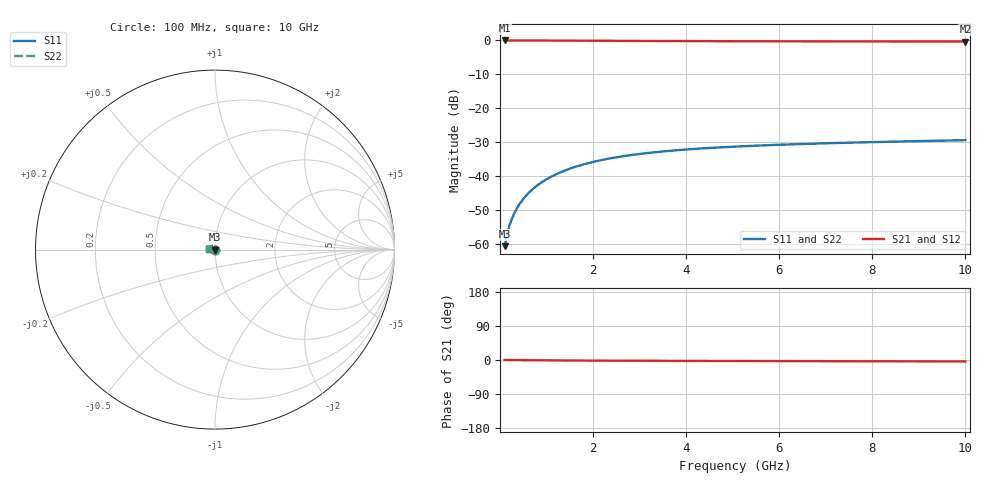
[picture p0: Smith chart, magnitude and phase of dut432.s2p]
! Touchstone file exported from HFSS 2024.1.0
!  File:  C:/UserFiles/LocalFiles/RDL_TSV_Batchsim/temp_TSV1_432_1779694422.aedt
!  Generated:  03:38:29 PM May 25, 2026
!  Design:  TSV1
!  Project:  temp_TSV1_432_1779694422
!  Setup:  Setup1
!  Solution:  Sweep
! Variables:
!  dtsv = 11.18um
!  hbump = 3um
!  htsv = 56.24um
!  lrdl = 252.1521522um
!  p = 40
!  p1 = 53.84um
!  t = 500um
!  trdl = 3um
!  wrdl = 24.89489489um
# GHz S MA R 50.000000
! Terminal data exported
! Port[1] = TSV22_T1
! Port[2] = TSV22_T2
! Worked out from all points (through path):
!   100 points, 100 MHz to 10 GHz, reference 50 ohm
!   highest |S21| = 0.00 dB at 100 MHz (marker M1); lowest = -0.3 dB at 10 GHz (marker M2)
!   lowest |S11| = -60.6 dB at 100 MHz (marker M3), VSWR 1.00, Z = 50 - j0.0937 ohm
!   |S11| at or under -10 dB: start of sweep to end of sweep
!   |S22| runs from -60.6 to -29.4 dB; largest |S21 - S12| = 5e-15
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0.1  0.0009385 -86.2  0.9999 -0.1  0.9999 -0.1  0.0009385 -86.2
! Gamma 0 0 0 0
! Port Impedance 50 0 50 0
0.2  0.001871 -90.8  0.9998 -0.2  0.9998 -0.2  0.001871 -90.8
0.3  0.002804 -93.7  0.9996 -0.3  0.9996 -0.3  0.002804 -93.7
0.4  0.003733 -96.1  0.9994 -0.4  0.9994 -0.4  0.003733 -96.1
0.5  0.004653 -98.3  0.9991 -0.5  0.9991 -0.5  0.004653 -98.3
0.6  0.005563 -100.4  0.9987 -0.6  0.9987 -0.6  0.005563 -100.4
0.7  0.00646 -102.4  0.9983 -0.7  0.9983 -0.7  0.00646 -102.4
0.8  0.00734 -104.4  0.9979 -0.7  0.9979 -0.7  0.00734 -104.4
0.9  0.008204 -106.4  0.9974 -0.8  0.9974 -0.8  0.008204 -106.4
1.1  0.009872 -110.1  0.9963 -1.0  0.9963 -1.0  0.009872 -110.1
1.4  0.01222 -115.5  0.9944 -1.2  0.9944 -1.2  0.01222 -115.5
1.6  0.01366 -118.9  0.9931 -1.3  0.9931 -1.3  0.01366 -118.9
1.8  0.01502 -122.2  0.9917 -1.5  0.9917 -1.5  0.01502 -122.2
2.1  0.01688 -126.7  0.9896 -1.6  0.9896 -1.6  0.01688 -126.7
2.5  0.01906 -132.4  0.9868 -1.8  0.9868 -1.8  0.01906 -132.4
2.9  0.02092 -137.5  0.9842 -2.0  0.9842 -2.0  0.02093 -137.5
3.4  0.02289 -143.2  0.9813 -2.2  0.9813 -2.2  0.02289 -143.2
4.2  0.02537 -151.2  0.9773 -2.4  0.9773 -2.4  0.02537 -151.2
5.1  0.02749 -158.7  0.9738 -2.7  0.9738 -2.7  0.02749 -158.7
6.7  0.03021 -169.4  0.9695 -3.0  0.9695 -3.0  0.03021 -169.4
8.4  0.03236 -178.6  0.9665 -3.4  0.9665 -3.4  0.03236 -178.6
10  0.03407 174.2  0.9646 -3.8  0.9646 -3.8  0.03407 174.2
